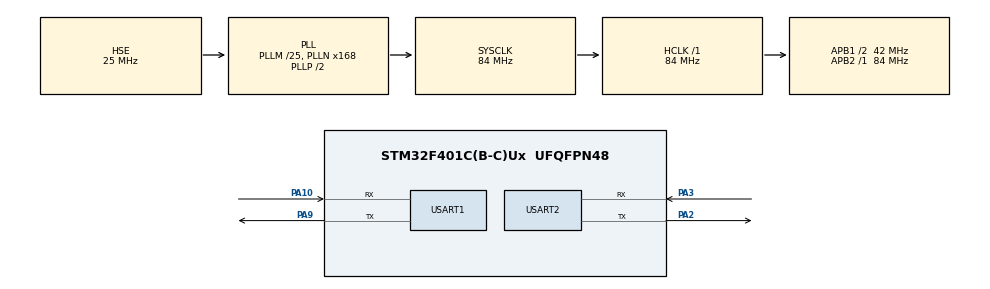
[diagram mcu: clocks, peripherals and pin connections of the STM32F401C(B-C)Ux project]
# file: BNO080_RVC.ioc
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Mcu.Family=STM32F4
Mcu.Name=STM32F401C(B-C)Ux
Mcu.Package=UFQFPN48
NVIC.PriorityGroup=NVIC_PRIORITYGROUP_4
NVIC.USART1_IRQn=true\:0\:0\:false\:false\:true\:true\:true
NVIC.USART2_IRQn=true\:0\:0\:false\:false\:true\:true\:true
PA10.Mode=Asynchronous
PA10.Signal=USART1_RX
PA13.Mode=Serial_Wire
PA13.Signal=SYS_JTMS-SWDIO
PA14.Mode=Serial_Wire
PA14.Signal=SYS_JTCK-SWCLK
PA2.Mode=Asynchronous
PA2.Signal=USART2_TX
PA3.Mode=Asynchronous
PA3.Signal=USART2_RX
PA9.Mode=Asynchronous
PA9.Signal=USART1_TX
PH0\ -\ OSC_IN.Mode=HSE-External-Oscillator
PH0\ -\ OSC_IN.Signal=RCC_OSC_IN
PH1\ -\ OSC_OUT.Mode=HSE-External-Oscillator
PH1\ -\ OSC_OUT.Signal=RCC_OSC_OUT
ProjectManager.HeapSize=0x200
ProjectManager.StackSize=0x400
ProjectManager.TargetToolchain=MDK-ARM V5
RCC.48MHZClocksFreq_Value=42000000
RCC.AHBFreq_Value=84000000
RCC.APB1CLKDivider=RCC_HCLK_DIV2
RCC.APB1Freq_Value=42000000
RCC.APB1TimFreq_Value=84000000
RCC.APB2Freq_Value=84000000
RCC.APB2TimFreq_Value=84000000
RCC.CortexFreq_Value=84000000
RCC.HCLKFreq_Value=84000000
RCC.HSE_VALUE=25000000
RCC.HSICalibrationValue=25
RCC.HSI_VALUE=16000000
RCC.LSE_VALUE=32768
RCC.PLLM=25
RCC.PLLN=168
RCC.PLLSourceVirtual=RCC_PLLSOURCE_HSE
RCC.SYSCLKFreq_VALUE=84000000
RCC.SYSCLKSource=RCC_SYSCLKSOURCE_PLLCLK
RCC.VCOOutputFreq_Value=168000000
USART1.VirtualMode=VM_ASYNC
USART2.VirtualMode=VM_ASYNC
board=custom

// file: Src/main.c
/* USER CODE BEGIN Header */
/**
  ******************************************************************************
  * @file           : main.c
  * @brief          : Main program body
  ******************************************************************************
  * @attention
  *
  * <h2><center>&copy; Copyright (c) 2019 STMicroelectronics.
  * All rights reserved.</center></h2>
  *
  * This software component is licensed by ST under BSD 3-Clause license,
  * the "License"; You may not use this file except in compliance with the
  * License. You may obtain a copy of the License at:
  *                        opensource.org/licenses/BSD-3-Clause
  *
  ******************************************************************************
  */
/* USER CODE END Header */

#include "main.h"

/* USER CODE BEGIN Includes */
#include "stdio.h"
#include "string.h"
#include "bno080_rvc.h"
/* USER CODE END Includes */

/* USER CODE BEGIN PD */
#define Buffersize 1
/* USER CODE END PD */

UART_HandleTypeDef huart1;
UART_HandleTypeDef huart2;

/* USER CODE BEGIN PV */
uint8_t Uart1_RxBuffer[Buffersize];
uint8_t Uart2_RxBuffer[Buffersize];  //uart recieve buff
/* USER CODE END PV */

void SystemClock_Config(void);
static void MX_GPIO_Init(void);
static void MX_USART1_UART_Init(void);
static void MX_USART2_UART_Init(void);

/* USER CODE BEGIN 0 */
#if 1
#pragma import(__use_no_semihosting)
//Standard library required support function
struct __FILE
{
	int handle;
};

FILE __stdout;
// define _sys_exit()
void _sys_exit(int x)
{
	x = x;
}
//redifine fputc()
int fputc(int ch, FILE *f)
{
	while((USART2->SR&0X40)==0);//Loop send
	huart2.Instance->DR = (unsigned char ) ch;
	return ch;
}
#endif
/* USER CODE END 0 */

int main(void)
{

  /* MCU Configuration--------------------------------------------------------*/

  /* Reset of all peripherals, Initializes the Flash interface and the Systick. */
  HAL_Init();

  /* Configure the system clock */
  SystemClock_Config();

  /* Initialize all configured peripherals */
  MX_GPIO_Init();
  MX_USART1_UART_Init();
  MX_USART2_UART_Init();
  /* USER CODE BEGIN 2 */
	HAL_UART_Receive_IT(&huart1,Uart1_RxBuffer,1);
  HAL_UART_Receive_IT(&huart2,Uart2_RxBuffer,1);
	printf("Init OK\n");
  /* USER CODE END 2 */

  /* Infinite loop */
  while (1)
  {

    /* USER CODE BEGIN 3 */
		if(data_update_flag)
		{
			printf("%3d : yaw:%0.2f pitch:%0.2f roll:%0.2f ax:%0.3f ay:%0.3f az:%0.3f\n",
           myBNO080_DATA.index, myBNO080_DATA.yaw_deg, myBNO080_DATA.pitch_deg,
			myBNO080_DATA.roll_deg, myBNO080_DATA.acc_x_g, myBNO080_DATA.acc_y_g, myBNO080_DATA.acc_z_g);
			data_update_flag = 0;
		}
  }
  /* USER CODE END 3 */
}

void SystemClock_Config(void)
{
  RCC_OscInitTypeDef RCC_OscInitStruct = {0};
  RCC_ClkInitTypeDef RCC_ClkInitStruct = {0};

  /** Configure the main internal regulator output voltage
  */
  __HAL_RCC_PWR_CLK_ENABLE();
  __HAL_PWR_VOLTAGESCALING_CONFIG(PWR_REGULATOR_VOLTAGE_SCALE2);
  /** Initializes the CPU, AHB and APB busses clocks
  */
  RCC_OscInitStruct.OscillatorType = RCC_OSCILLATORTYPE_HSE;
  RCC_OscInitStruct.HSEState = RCC_HSE_ON;
  RCC_OscInitStruct.PLL.PLLState = RCC_PLL_ON;
  RCC_OscInitStruct.PLL.PLLSource = RCC_PLLSOURCE_HSE;
  RCC_OscInitStruct.PLL.PLLM = 25;
  RCC_OscInitStruct.PLL.PLLN = 168;
  RCC_OscInitStruct.PLL.PLLP = RCC_PLLP_DIV2;
  RCC_OscInitStruct.PLL.PLLQ = 4;
  if (HAL_RCC_OscConfig(&RCC_OscInitStruct) != HAL_OK)
  {
    Error_Handler();
  }
  /** Initializes the CPU, AHB and APB busses clocks
  */
  RCC_ClkInitStruct.ClockType = RCC_CLOCKTYPE_HCLK|RCC_CLOCKTYPE_SYSCLK
                              |RCC_CLOCKTYPE_PCLK1|RCC_CLOCKTYPE_PCLK2;
  RCC_ClkInitStruct.SYSCLKSource = RCC_SYSCLKSOURCE_PLLCLK;
  RCC_ClkInitStruct.AHBCLKDivider = RCC_SYSCLK_DIV1;
  RCC_ClkInitStruct.APB1CLKDivider = RCC_HCLK_DIV2;
  RCC_ClkInitStruct.APB2CLKDivider = RCC_HCLK_DIV1;

  if (HAL_RCC_ClockConfig(&RCC_ClkInitStruct, FLASH_LATENCY_2) != HAL_OK)
  {
    Error_Handler();
  }
}

static void MX_USART1_UART_Init(void)
{

  huart1.Instance = USART1;
  huart1.Init.BaudRate = 115200;
  huart1.Init.WordLength = UART_WORDLENGTH_8B;
  huart1.Init.StopBits = UART_STOPBITS_1;
  huart1.Init.Parity = UART_PARITY_NONE;
  huart1.Init.Mode = UART_MODE_TX_RX;
  huart1.Init.HwFlowCtl = UART_HWCONTROL_NONE;
  huart1.Init.OverSampling = UART_OVERSAMPLING_16;
  if (HAL_UART_Init(&huart1) != HAL_OK)
  {
    Error_Handler();
  }

}

static void MX_USART2_UART_Init(void)
{

  huart2.Instance = USART2;
  huart2.Init.BaudRate = 115200;
  huart2.Init.WordLength = UART_WORDLENGTH_8B;
  huart2.Init.StopBits = UART_STOPBITS_1;
  huart2.Init.Parity = UART_PARITY_NONE;
  huart2.Init.Mode = UART_MODE_TX_RX;
  huart2.Init.HwFlowCtl = UART_HWCONTROL_NONE;
  huart2.Init.OverSampling = UART_OVERSAMPLING_16;
  if (HAL_UART_Init(&huart2) != HAL_OK)
  {
    Error_Handler();
  }

}

static void MX_GPIO_Init(void)
{

  /* GPIO Ports Clock Enable */
  __HAL_RCC_GPIOH_CLK_ENABLE();
  __HAL_RCC_GPIOA_CLK_ENABLE();

}

/* USER CODE BEGIN 4 */
/*
uart callback function   can be redifined  should not be modified
*/
void HAL_UART_RxCpltCallback(UART_HandleTypeDef *huart)
{
	if(huart == &huart1)
	{
		HAL_UART_Receive_IT(&huart1,Uart1_RxBuffer,1);
		rx080Char(Uart1_RxBuffer[0]);  //解析BNO080 RVC模式数据帧
	}
		if(huart == &huart2)
	{
//		HAL_UART_Transmit(&huart2,Uart2_RxBuffer,strlen((char *)Uart2_RxBuffer),1000);
//		HAL_UART_Receive_IT(&huart2,Uart2_RxBuffer,1);
	}
}
/* USER CODE END 4 */

void Error_Handler(void)
{
}

/************************ (C) COPYRIGHT STMicroelectronics *****END OF FILE****/
